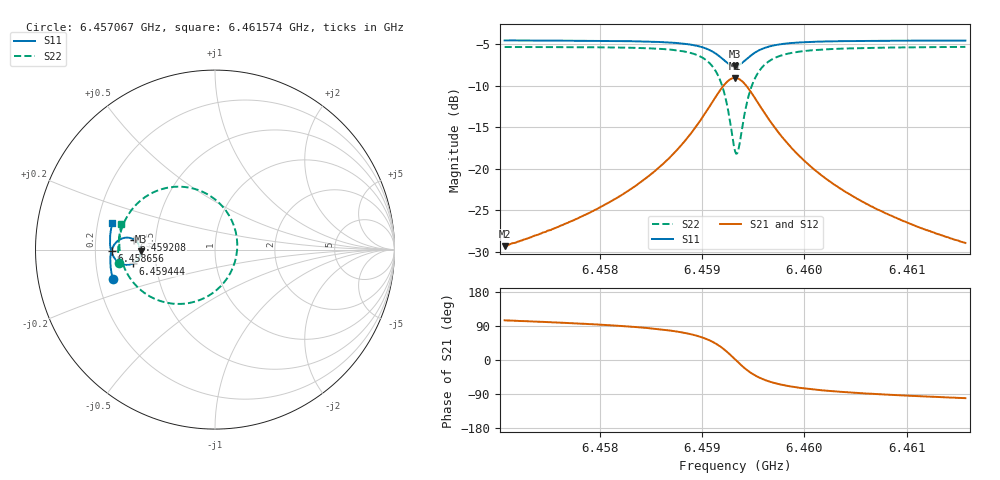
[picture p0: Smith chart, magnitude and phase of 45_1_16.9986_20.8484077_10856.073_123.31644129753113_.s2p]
#  HZ  S  RI  R  50.00
! Rohde & Schwarz Vector Network Analyzer
! Rohde-Schwarz,ZNB20-2Port,1311601062101988,3.16
! Created: UTC 3/20/2024, 10:54:03 PM
! freq[Hz]  re:S11  im:S11  re:S21  im:S21  re:S12  im:S12  re:S22  im:S22
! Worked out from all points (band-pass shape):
!   401 points, 6.457067 GHz to 6.461574 GHz, reference 50 ohm
!   highest |S21| = -9.06 dB at 6.45932 GHz (marker M1); lowest = -29.3 dB at 6.457067 GHz (marker M2)
!   |S21| within 3 dB of the highest: 6.459095 GHz to 6.459545 GHz (450.2 kHz wide, 0.00697 % of centre)
!   lowest |S11| = -7.7 dB at 6.45932 GHz (marker M3), VSWR 2.41, Z = 20.7 - j0.486 ohm
!   |S11| at or under -10 dB: nowhere
!   |S22| runs from -18.2 to -5.3 dB; largest |S21 - S12| = 0.014
!   S11 on the Smith chart (normalised r, x): 6.457067 GHz: 0.26, -0.13; 6.458656 GHz: 0.27, -0.00; 6.459208 GHz: 0.38, +0.05; 6.459444 GHz: 0.37, -0.07; 6.461574 GHz: 0.26, +0.12
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6.4570672e9  -0.5678 -0.1666  -0.00873 0.0331  -0.00685 0.0331  -0.5351 -0.0759
6.457822e9  -0.5811 -0.1001  -0.00524 0.0515  -0.00259 0.0508  -0.5388 0.0138
6.4582388e9  -0.5836 -0.058  0.00101 0.0713  0.00432 0.0699  -0.5297 0.0811
6.4585768e9  -0.5794 -0.0169  0.0154 0.1007  0.0194 0.0978  -0.5028 0.1592
6.4586557e9  -0.5766 -0.00591  0.0218 0.1106  0.026 0.1073  -0.4904 0.1827
6.4588472e9  -0.5628 0.025  0.0508 0.1428  0.0547 0.1376  -0.4363 0.2534
6.4589824e9  -0.5407 0.0494  0.0947 0.1714  0.0979 0.1646  -0.3551 0.3132
6.4591176e9  -0.4957 0.0666  0.184 0.1876  0.1849 0.1801  -0.1919 0.3504
6.4592077e9  -0.4501 0.0554  0.2757 0.1546  0.2758 0.1488  -0.0225 0.2963
6.4592753e9  -0.4207 0.0221  0.3366 0.0805  0.3389 0.075  0.0934 0.1621
6.4593204e9  -0.4139 -0.00971  0.3524 0.011  0.3563 0.00368  0.124 0.0317
6.4593542e9  -0.4182 -0.0341  0.3458 -0.0426  0.3498 -0.052  0.1106 -0.0696
6.4593992e9  -0.4345 -0.0606  0.3159 -0.1031  0.3181 -0.1154  0.0497 -0.1838
6.4594443e9  -0.4571 -0.0771  0.2725 -0.1444  0.2716 -0.158  -0.0381 -0.2585
6.4595344e9  -0.5012 -0.0839  0.186 -0.1751  0.1795 -0.1867  -0.2103 -0.3027
6.459602e9  -0.5259 -0.0765  0.137 -0.1724  0.1287 -0.1815  -0.3049 -0.2863
6.4596809e9  -0.5458 -0.0633  0.0969 -0.1601  0.0882 -0.1662  -0.3797 -0.2506
6.4598386e9  -0.5677 -0.0355  0.0515 -0.1313  0.0437 -0.134  -0.4604 -0.1767
6.4600752e9  -0.5805 -6.67e-05  0.0222 -0.099  0.0163 -0.0997  -0.5083 -0.0932
6.4604132e9  -0.5852 0.0407  0.00616 -0.0717  0.00194 -0.0712  -0.5295 -0.0136
6.46083e9  -0.5836 0.083  -0.0016 -0.0528  -0.00443 -0.0519  -0.5335 0.0545
6.4615736e9  -0.5717 0.1492  -0.00665 -0.0352  -0.00834 -0.0342  -0.5222 0.1435
